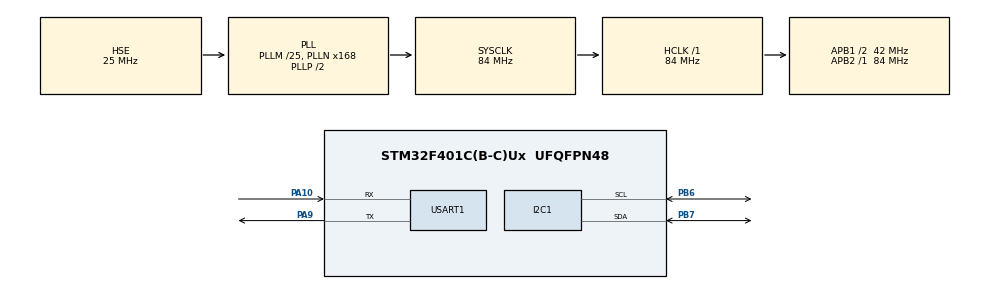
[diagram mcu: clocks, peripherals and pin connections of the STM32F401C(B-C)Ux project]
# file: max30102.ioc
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I2C1.I2C_Mode=I2C_Fast
Mcu.Family=STM32F4
Mcu.Name=STM32F401C(B-C)Ux
Mcu.Package=UFQFPN48
NVIC.PriorityGroup=NVIC_PRIORITYGROUP_4
PA10.Mode=Asynchronous
PA10.Signal=USART1_RX
PA9.Mode=Asynchronous
PA9.Signal=USART1_TX
PB6.Mode=I2C
PB6.Signal=I2C1_SCL
PB7.Mode=I2C
PB7.Signal=I2C1_SDA
PH0\ -\ OSC_IN.Mode=HSE-External-Oscillator
PH0\ -\ OSC_IN.Signal=RCC_OSC_IN
PH1\ -\ OSC_OUT.Mode=HSE-External-Oscillator
PH1\ -\ OSC_OUT.Signal=RCC_OSC_OUT
ProjectManager.HeapSize=0x200
ProjectManager.StackSize=0x400
ProjectManager.TargetToolchain=CMake
RCC.48MHZClocksFreq_Value=42000000
RCC.AHBFreq_Value=84000000
RCC.APB1CLKDivider=RCC_HCLK_DIV2
RCC.APB1Freq_Value=42000000
RCC.APB1TimFreq_Value=84000000
RCC.APB2Freq_Value=84000000
RCC.APB2TimFreq_Value=84000000
RCC.CortexFreq_Value=84000000
RCC.HCLKFreq_Value=84000000
RCC.HSE_VALUE=25000000
RCC.HSI_VALUE=16000000
RCC.LSE_VALUE=32768
RCC.PLLM=25
RCC.PLLN=168
RCC.PLLSourceVirtual=RCC_PLLSOURCE_HSE
RCC.SYSCLKFreq_VALUE=84000000
RCC.SYSCLKSource=RCC_SYSCLKSOURCE_PLLCLK
RCC.VCOOutputFreq_Value=168000000
USART1.VirtualMode=VM_ASYNC
board=custom

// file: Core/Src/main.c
/* USER CODE BEGIN Header */
/**
  ******************************************************************************
  * @file           : main.c
  * @brief          : Main program body
  ******************************************************************************
  * @attention
  *
  * Copyright (c) 2026 STMicroelectronics.
  * All rights reserved.
  *
  * This software is licensed under terms that can be found in the LICENSE file
  * in the root directory of this software component.
  * If no LICENSE file comes with this software, it is provided AS-IS.
  *
  ******************************************************************************
  */
/* USER CODE END Header */
#include "main.h"

/* USER CODE BEGIN Includes */
#include "I2C_SCAN_BUS.h"
#include "uart.h"
#include "max30102.h"

#include "string.h"
#include "stdio.h"

/* USER CODE END Includes */

I2C_HandleTypeDef hi2c1;

UART_HandleTypeDef huart1;

/* USER CODE BEGIN PV */
char txt[80];
uint32_t t_print = 0;

/* USER CODE END PV */

void SystemClock_Config(void);
static void MX_GPIO_Init(void);
static void MX_I2C1_Init(void);
static void MX_USART1_UART_Init(void);

int main(void)
{

  /* MCU Configuration--------------------------------------------------------*/

  /* Reset of all peripherals, Initializes the Flash interface and the Systick. */
  HAL_Init();

  /* Configure the system clock */
  SystemClock_Config();

  /* Initialize all configured peripherals */
  MX_GPIO_Init();
  MX_I2C1_Init();
  MX_USART1_UART_Init();
  /* USER CODE BEGIN 2 */
  // liberar el bus por si el sensor quedo colgado de una lectura anterior
  if (MAX30102_BusRecovery() == HAL_OK)
      uartx_write_text(&huart1, "BUS I2C LIBRE\r\n");
  else
      uartx_write_text(&huart1, "BUS I2C BLOQUEADO\r\n");

  uartx_write_text(&uart_i2c, "INICIO SCANEO I2C\r\n");
  I2C_SCAN(&MAX30102_I2C);
  uartx_write_text(&uart_i2c, "FIN SCANEO\r\n");

  if (MAX30102_Init() == HAL_OK)
      uartx_write_text(&huart1, "MAX30102 OK\r\n");
  else
  {
      uartx_write_text(&huart1, "MAX30102 NO ENCONTRADO\r\n");
      while (1);
  }
  /* USER CODE END 2 */

  /* Infinite loop */
  while (1)
  {

    /* USER CODE BEGIN 3 */
    MAX30102_Task();                     // vaciar FIFO y procesar (llamar seguido)

   // si se detecta un latido
   if (MAX30102_BeatDetected())
     //   uartx_write_text(&huart1, "<3\r\n");   // un latido

    if (HAL_GetTick() - t_print >= 1000)       // reporte cada 1 s
    {
        t_print = HAL_GetTick();

        if (!MAX30102_FingerPresent())
            sprintf(txt, "Coloque el dedo  (IR=%lu)\r\n", MAX30102_GetRawIR());
        else if (MAX30102_GetBPM() == 0)
            sprintf(txt, "Midiendo...      (IR=%lu)\r\n", MAX30102_GetRawIR());
        else
            sprintf(txt, "BPM=%u  SpO2=%u%%\r\n", MAX30102_GetBPM(), MAX30102_GetSpO2());

        uartx_write_text(&huart1, txt);
    }
  }
  /* USER CODE END 3 */
}

void SystemClock_Config(void)
{
  RCC_OscInitTypeDef RCC_OscInitStruct = {0};
  RCC_ClkInitTypeDef RCC_ClkInitStruct = {0};

  /** Configure the main internal regulator output voltage
  */
  __HAL_RCC_PWR_CLK_ENABLE();
  __HAL_PWR_VOLTAGESCALING_CONFIG(PWR_REGULATOR_VOLTAGE_SCALE2);

  /** Initializes the RCC Oscillators according to the specified parameters
  * in the RCC_OscInitTypeDef structure.
  */
  RCC_OscInitStruct.OscillatorType = RCC_OSCILLATORTYPE_HSE;
  RCC_OscInitStruct.HSEState = RCC_HSE_ON;
  RCC_OscInitStruct.PLL.PLLState = RCC_PLL_ON;
  RCC_OscInitStruct.PLL.PLLSource = RCC_PLLSOURCE_HSE;
  RCC_OscInitStruct.PLL.PLLM = 25;
  RCC_OscInitStruct.PLL.PLLN = 168;
  RCC_OscInitStruct.PLL.PLLP = RCC_PLLP_DIV2;
  RCC_OscInitStruct.PLL.PLLQ = 4;
  if (HAL_RCC_OscConfig(&RCC_OscInitStruct) != HAL_OK)
  {
    Error_Handler();
  }

  /** Initializes the CPU, AHB and APB buses clocks
  */
  RCC_ClkInitStruct.ClockType = RCC_CLOCKTYPE_HCLK|RCC_CLOCKTYPE_SYSCLK
                              |RCC_CLOCKTYPE_PCLK1|RCC_CLOCKTYPE_PCLK2;
  RCC_ClkInitStruct.SYSCLKSource = RCC_SYSCLKSOURCE_PLLCLK;
  RCC_ClkInitStruct.AHBCLKDivider = RCC_SYSCLK_DIV1;
  RCC_ClkInitStruct.APB1CLKDivider = RCC_HCLK_DIV2;
  RCC_ClkInitStruct.APB2CLKDivider = RCC_HCLK_DIV1;

  if (HAL_RCC_ClockConfig(&RCC_ClkInitStruct, FLASH_LATENCY_2) != HAL_OK)
  {
    Error_Handler();
  }
}

static void MX_I2C1_Init(void)
{

  hi2c1.Instance = I2C1;
  hi2c1.Init.ClockSpeed = 400000;
  hi2c1.Init.DutyCycle = I2C_DUTYCYCLE_2;
  hi2c1.Init.OwnAddress1 = 0;
  hi2c1.Init.AddressingMode = I2C_ADDRESSINGMODE_7BIT;
  hi2c1.Init.DualAddressMode = I2C_DUALADDRESS_DISABLE;
  hi2c1.Init.OwnAddress2 = 0;
  hi2c1.Init.GeneralCallMode = I2C_GENERALCALL_DISABLE;
  hi2c1.Init.NoStretchMode = I2C_NOSTRETCH_DISABLE;
  if (HAL_I2C_Init(&hi2c1) != HAL_OK)
  {
    Error_Handler();
  }

}

static void MX_USART1_UART_Init(void)
{

  huart1.Instance = USART1;
  huart1.Init.BaudRate = 115200;
  huart1.Init.WordLength = UART_WORDLENGTH_8B;
  huart1.Init.StopBits = UART_STOPBITS_1;
  huart1.Init.Parity = UART_PARITY_NONE;
  huart1.Init.Mode = UART_MODE_TX_RX;
  huart1.Init.HwFlowCtl = UART_HWCONTROL_NONE;
  huart1.Init.OverSampling = UART_OVERSAMPLING_16;
  if (HAL_UART_Init(&huart1) != HAL_OK)
  {
    Error_Handler();
  }

}

static void MX_GPIO_Init(void)
{

  /* GPIO Ports Clock Enable */
  __HAL_RCC_GPIOH_CLK_ENABLE();
  __HAL_RCC_GPIOA_CLK_ENABLE();
  __HAL_RCC_GPIOB_CLK_ENABLE();

}

void Error_Handler(void)
{
  __disable_irq();
  while (1)
  {
  }
}
